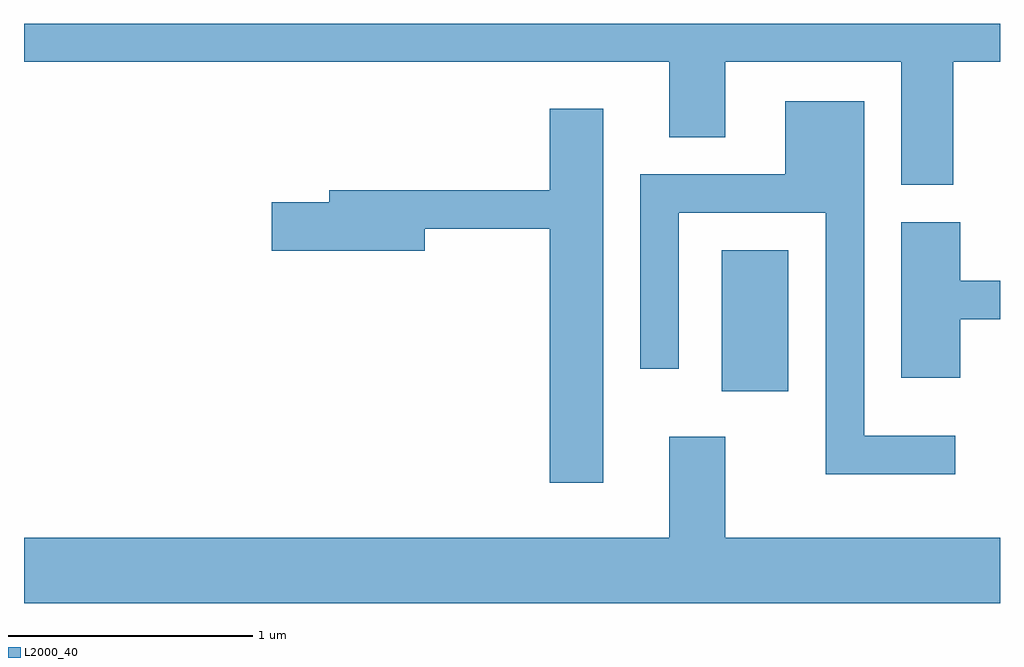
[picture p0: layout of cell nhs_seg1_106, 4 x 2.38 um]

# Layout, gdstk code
import gdstk
lib = gdstk.Library(unit=1e-6, precision=1e-09)
def R(c, l, rs):  # rectangles x0, y0, x1, y1
    for r in rs: c.add(gdstk.rectangle(r[:2], r[2:], *l))
def P(c, l, *ps):  # polygons
    for p in ps: c.add(gdstk.Polygon(p, *l))
L2000_40 = (2000, 40)

nhs_seg1_106 = lib.new_cell('nhs_seg1_106')
R(nhs_seg1_106, L2000_40, [(190.471,918.206,190.744,918.784)])
P(nhs_seg1_106, L2000_40, [(191.419,919.556),(191.611,919.556),(191.611,919.712),(187.611,919.712),(187.611,919.556),(190.256,919.556),(190.256,919.246),(190.484,919.246),(190.484,919.556),(191.206,919.556),(191.206,919.051),(191.419,919.051)],
  [(191.428,918.024),(191.054,918.024),(191.054,919.394),(190.731,919.394),(190.731,919.094),(190.136,919.094),(190.136,918.298),(190.294,918.298),(190.294,918.936),(190.896,918.936),(190.896,917.866),(191.428,917.866)],
  [(189.984,919.364),(189.766,919.364),(189.766,919.029),(188.861,919.029),(188.861,918.979),(188.626,918.979),(188.626,918.781),(189.254,918.781),(189.254,918.871),(189.766,918.871),(189.766,917.831),(189.984,917.831)],
  [(191.449,918.501),(191.611,918.501),(191.611,918.659),(191.449,918.659),(191.449,918.899),(191.206,918.899),(191.206,918.261),(191.449,918.261)],
  [(191.611,917.604),(190.484,917.604),(190.484,918.019),(190.256,918.019),(190.256,917.604),(187.611,917.604),(187.611,917.336),(191.611,917.336)])

lib.write_gds('nhs_seg1_106.gds')
